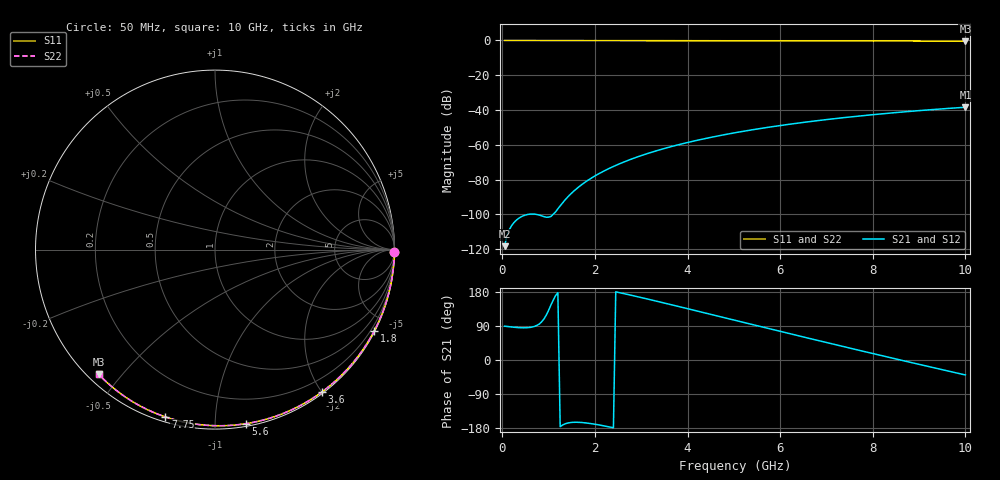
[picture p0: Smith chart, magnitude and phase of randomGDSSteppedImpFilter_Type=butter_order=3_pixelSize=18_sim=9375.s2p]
! freq	dB(S11)	phase(S11)	dB(S12)	phase(S12)
!  dB(S21)	phase(S21)	dB(S22)	phase(S22)
!S-par simulation data
#  GHz  S  DB  R 50
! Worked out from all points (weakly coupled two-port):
!   200 points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, 50 MHz to 10 GHz, reference 50 ohm
!   highest |S21| = -38.41 dB at 10 GHz (marker M1); lowest = -118.3 dB at 50 MHz (marker M2)
!   lowest |S11| = -0.4 dB at 10 GHz (marker M3), VSWR 38.92, Z = 1.53 - j21.7 ohm
!   |S11| at or under -10 dB: nowhere
!   |S22| runs from -0.4 to 0.0 dB; largest |S21 - S12| = 0
!   S11 on the Smith chart (normalised r, x): 50 MHz: open; 1.8 GHz: 0.04, -4.14; 3.6 GHz: 0.02, -2.00; 5.6 GHz: 0.02, -1.19; 7.75 GHz: 0.02, -0.75; 10 GHz: 0.03, -0.43
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0.05  -0.00 -0.8  -118.32 89.2  -118.32 89.2  -0.00 -0.8
0.9  -0.02 -13.7  -101.33 108.2  -101.33 108.2  -0.02 -13.7
1.75  -0.03 -26.4  -82.24 -165.3  -82.24 -165.3  -0.03 -26.4
1.8  -0.03 -27.1  -81.30 -166.0  -81.30 -166.0  -0.03 -27.1
1.85  -0.04 -27.9  -80.41 -166.7  -80.41 -166.7  -0.04 -27.9
1.9  -0.04 -28.6  -79.55 -167.6  -79.55 -167.6  -0.04 -28.6
2.05  -0.04 -30.8  -77.16 -170.5  -77.16 -170.5  -0.04 -30.8
2.25  -0.04 -33.8  -74.35 -175.1  -74.35 -175.1  -0.04 -33.8
2.45  -0.05 -36.7  -71.86 179.9  -71.86 179.9  -0.05 -36.7
2.65  -0.05 -39.6  -69.64 174.6  -69.64 174.6  -0.05 -39.6
3  -0.06 -44.6  -66.22 164.8  -66.22 164.8  -0.06 -44.6
3.4  -0.07 -50.3  -62.88 153.2  -62.88 153.2  -0.07 -50.3
3.6  -0.07 -53.1  -61.39 147.3  -61.39 147.3  -0.07 -53.1
4.3  -0.09 -62.7  -56.88 126.5  -56.88 126.5  -0.09 -62.7
5.05  -0.11 -72.8  -52.96 104.0  -52.96 104.0  -0.11 -72.8
5.6  -0.13 -79.9  -50.53 87.6  -50.53 87.6  -0.13 -79.9
6.15  -0.15 -86.9  -48.38 71.2  -48.38 71.2  -0.15 -86.9
6.7  -0.18 -93.8  -46.47 54.9  -46.47 54.9  -0.18 -93.8
7.75  -0.24 -106.5  -43.35 24.3  -43.35 24.3  -0.24 -106.5
8.35  -0.29 -113.6  -41.83 7.0  -41.83 7.0  -0.29 -113.6
9.15  -0.36 -123.0  -40.04 -15.7  -40.04 -15.7  -0.36 -123.0
10  -0.45 -133.0  -38.41 -39.5  -38.41 -39.5  -0.45 -133.0
